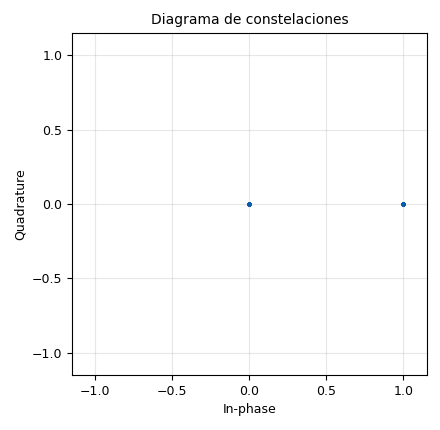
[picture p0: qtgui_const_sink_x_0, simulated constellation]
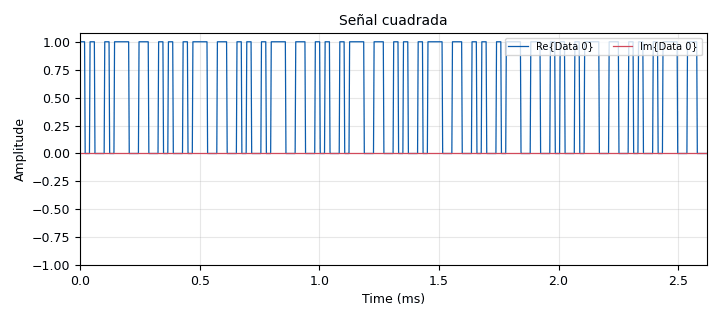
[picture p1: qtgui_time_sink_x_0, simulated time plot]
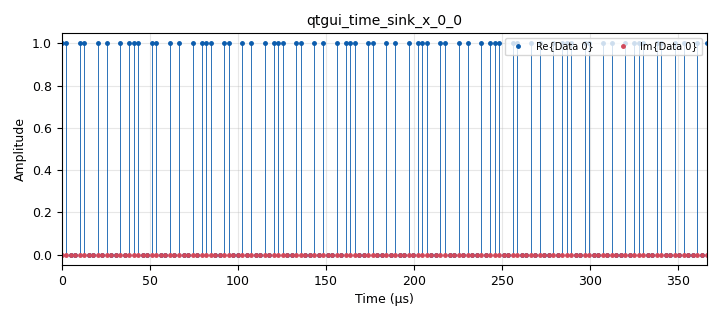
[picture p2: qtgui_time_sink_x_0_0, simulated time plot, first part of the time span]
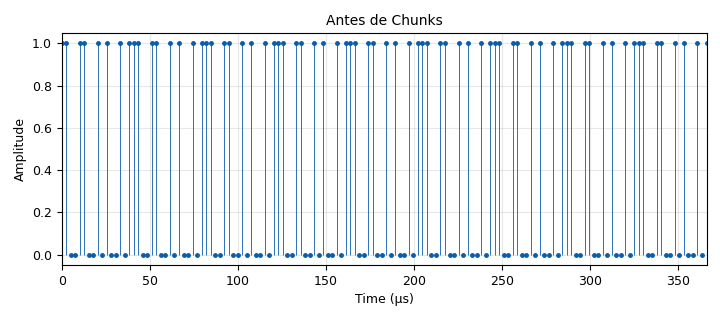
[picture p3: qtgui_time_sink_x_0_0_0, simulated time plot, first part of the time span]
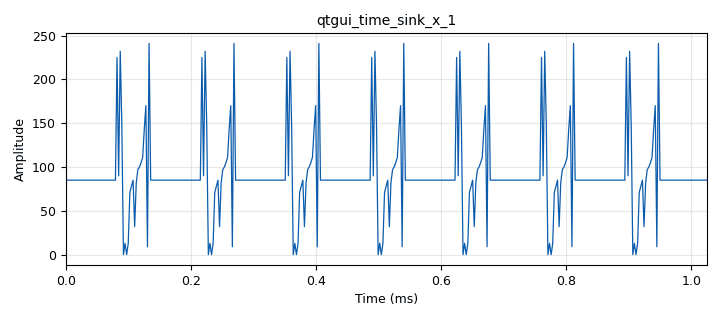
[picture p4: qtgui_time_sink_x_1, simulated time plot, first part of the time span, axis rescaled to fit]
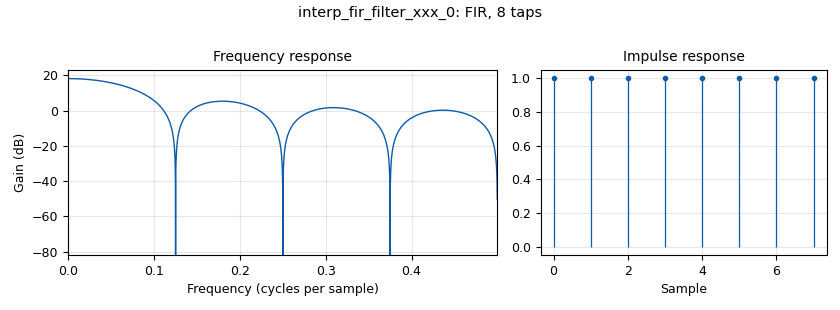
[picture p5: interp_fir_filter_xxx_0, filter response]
options:
  parameters:
    description: https://www.youtube.com/watch?v=2rsu-c26Tqo
    generate_options: qt_gui
    id: fus_USRP_4_with_Pkt_xmt
    output_language: python
    title: fus_USRP_4_with_Pkt_xmt
  states: {}

blocks:
- name: M
  id: variable
  parameters:
    value: len(module)
  states: {}
- name: Rb
  id: variable
  parameters:
    value: Rs*bps
  states: {}
- name: Rs
  id: variable
  parameters:
    value: '48828.125'
  states: {}
- name: Sps
  id: variable
  parameters:
    value: '8'
  states: {}
- name: Sps_0
  id: variable
  parameters:
    value: int(Sps/2)
  states: {}
- name: TrueBoardConstellation
  id: variable
  parameters:
    value: (0.77+0.77j,-0.77+0.77j,-0.77-0.77j,0.77-0.77j)
  states: {}
- name: bps
  id: variable
  parameters:
    value: int(math.log(M,2))
  states: {}
- name: constellation_2
  id: variable
  parameters:
    value: (0,1)
  states: {}
- name: h
  id: variable
  parameters:
    value: '[1]*Sps'
  states: {}
- name: module
  id: variable_qtgui_chooser
  parameters:
    gui_hint: 0,7,1,1
    label: modulación
    label0: TrueBoardConstellation
    label1: constellation_2
    num_opts: '2'
    option0: TrueBoardConstellation
    option1: constellation_2
    options: '[TrueBoardConstellation, constellation_2]'
    type: raw
    value: constellation_2
  states: {}
- name: samp_rate
  id: variable
  parameters:
    value: Rs*Sps
  states: {}
- name: samp_rate_2
  id: variable
  parameters:
    value: samp_rate*16
  states: {}
- name: Widget
  id: qtgui_tab_widget
  parameters:
    gui_hint: 0,0,1,7
    label0: Señal binaria
    label1: Señal cuadrada
    label2: Diagrama de constelaciones
    label3: Antes de Chunks
    num_tabs: '4'
  states: {}
- name: blocks_complex_to_mag_0
  id: blocks_complex_to_mag
  parameters: {}
  states: {state: disabled}
- name: blocks_file_sink_1
  id: blocks_file_sink
  parameters:
    file: G:\My Drive\ProgrammingProject\MaquinaNativa1\encrypted_data_rr.bin
    type: byte
  states: {state: disabled}
- name: blocks_file_source_0
  id: blocks_file_source
  parameters:
    file: G:\My Drive\ProgrammingProject\MaquinaNativa1\Frailejon.txt
    repeat: 'True'
    type: byte
  states: {state: disabled}
- name: blocks_float_to_uchar_0
  id: blocks_float_to_uchar
  parameters: {}
  states: {state: disabled}
- name: blocks_keep_one_in_n_0
  id: blocks_keep_one_in_n
  parameters:
    n: '8'
    type: complex
  states: {state: disabled}
- name: blocks_message_debug_0
  id: blocks_message_debug
  parameters: {}
  states: {}
- name: blocks_message_strobe_0
  id: blocks_message_strobe
  parameters:
    msg: pmt.cons(pmt.PMT_NIL,pmt.init_u8vector(9,(71,78,85,32,82,97,100,105,111)))
    period: '500'
  states: {}
- name: blocks_pack_k_bits_bb_0
  id: blocks_pack_k_bits_bb
  parameters:
    k: '8'
  states: {state: disabled}
- name: blocks_pack_k_bits_bb_0_0
  id: blocks_pack_k_bits_bb
  parameters:
    k: '8'
  states: {state: disabled}
- name: blocks_packed_to_unpacked_xx_0
  id: blocks_packed_to_unpacked_xx
  parameters:
    bits_per_chunk: bps
    endianness: gr.GR_MSB_FIRST
    type: byte
  states: {state: disabled}
- name: blocks_pdu_to_tagged_stream_0
  id: blocks_pdu_to_tagged_stream
  parameters:
    tag: packet_len
    type: byte
  states: {}
- name: blocks_uchar_to_float_0
  id: blocks_uchar_to_float
  parameters: {}
  states: {}
- name: blocks_uchar_to_float_1
  id: blocks_uchar_to_float
  parameters: {}
  states: {}
- name: blocks_unpack_k_bits_bb_0
  id: blocks_unpack_k_bits_bb
  parameters:
    k: '8'
  states: {state: disabled}
- name: blocks_vector_source_x_0
  id: blocks_vector_source_x
  parameters:
    repeat: 'True'
    tags: ''
    type: byte
    vector: (1,1,0,0,1,1,0,0,1,0,1,0,0,1,0,1)
  states: {}
- name: digital_chunks_to_symbols_xx_0
  id: digital_chunks_to_symbols_xx
  parameters:
    dimension: '1'
    in_type: byte
    out_type: complex
    symbol_table: module
  states: {}
- name: digital_crc32_async_bb_1
  id: digital_crc32_async_bb
  parameters:
    check: 'False'
  states: {}
- name: epy_block_0
  id: epy_block
  parameters:
    _source_code: |
      """
      Embedded Python Block
      """

      import numpy as np
      from gnuradio import gr
      import pmt

      class blk(gr.sync_block):
          """Packet Format"""

          def __init__(self):
              gr.sync_block.__init__(self,
                  name = "Packet Format",
                  in_sig = None,
                  out_sig = None)
              self.message_port_register_in(pmt.intern('PDU_in'))
              self.message_port_register_out(pmt.intern('PDU_out'))
              self.set_msg_handler(pmt.intern('PDU_in'), self.handle_msg)

          def handle_msg(self, msg):
              inMsg = pmt.to_python (msg)
              pld = inMsg[1]
              # print (pld)
              mLen = len(pld)
              # print (mLen)
              if (mLen > 0):
                  char_list = [85,85,85,85,85,85,85,85,85,85,85,85,85,85,85,85,85,85,85,85,85,85,85,85,85,85,85,85,85,85,85,85,225,90,232,147]
                  char_list.append (mLen >> 8)
                  char_list.append (mLen & 255)
                  char_list.append (mLen >> 8)
                  char_list.append (mLen & 255)
                  char_list.extend (pld)
                  # print (char_list)
                  out_len = len(char_list)
                  # print (out_len)
                  self.message_port_pub(pmt.intern('PDU_out'), pmt.cons(pmt.PMT_NIL,pmt.init_u8vector(out_len,(char_list))))
  states: {}
- name: import_0
  id: import
  parameters:
    imports: import math
  states: {}
- name: import_1
  id: import
  parameters:
    imports: import numpy
  states: {}
- name: interp_fir_filter_xxx_0
  id: interp_fir_filter_xxx
  parameters:
    interp: Sps
    taps: h
    type: ccf
  states: {}
- name: qtgui_const_sink_x_0
  id: qtgui_const_sink_x
  parameters:
    autoscale: 'True'
    grid: 'True'
    gui_hint: Widget@2
    name: '"Diagrama de constelaciones"'
    size: '2048'
    type: complex
  states: {}
- name: qtgui_freq_sink_x_0
  id: qtgui_freq_sink_x
  parameters:
    autoscale: 'True'
    bw: samp_rate_1
    ctrlpanel: 'True'
    fc: '0'
    fftsize: '1024'
    grid: 'True'
    gui_hint: 0,1,1,1
    type: float
  states: {state: disabled}
- name: qtgui_time_sink_x_0
  id: qtgui_time_sink_x
  parameters:
    ctrlpanel: 'True'
    gui_hint: Widget@1
    name: '"Señal cuadrada"'
    size: '1024'
    srate: samp_rate
    type: complex
  states: {}
- name: qtgui_time_sink_x_0_0
  id: qtgui_time_sink_x
  parameters:
    autoscale: 'True'
    ctrlpanel: 'True'
    grid: 'True'
    gui_hint: Widget@0
    size: '1024'
    srate: samp_rate
    stemplot: 'True'
    type: complex
    update_time: '0.1'
  states: {}
- name: qtgui_time_sink_x_0_0_0
  id: qtgui_time_sink_x
  parameters:
    autoscale: 'True'
    ctrlpanel: 'True'
    grid: 'True'
    gui_hint: Widget@3
    name: Antes de Chunks
    size: '1024'
    srate: samp_rate
    stemplot: 'True'
    type: float
    update_time: '0.1'
  states: {}
- name: qtgui_time_sink_x_1
  id: qtgui_time_sink_x
  parameters:
    ctrlpanel: 'True'
    size: '1024'
    srate: samp_rate
    type: float
  states: {}
- name: uhd_usrp_sink_0
  id: uhd_usrp_sink
  parameters:
    ant0: '"TX/RX"'
    center_freq0: 830e6
    gain0: '0'
    samp_rate: samp_rate
    sync: none
    type: fc32
  states: {}

connections:
- [blocks_complex_to_mag_0, '0', blocks_float_to_uchar_0, '0']
- [blocks_file_source_0, '0', blocks_pack_k_bits_bb_0, '0']
- [blocks_file_source_0, '0', blocks_unpack_k_bits_bb_0, '0']
- [blocks_float_to_uchar_0, '0', blocks_pack_k_bits_bb_0_0, '0']
- [blocks_keep_one_in_n_0, '0', blocks_complex_to_mag_0, '0']
- [blocks_message_strobe_0, strobe, digital_crc32_async_bb_1, in]
- [blocks_pack_k_bits_bb_0, '0', blocks_packed_to_unpacked_xx_0, '0']
- [blocks_pack_k_bits_bb_0_0, '0', blocks_file_sink_1, '0']
- [blocks_packed_to_unpacked_xx_0, '0', blocks_uchar_to_float_0, '0']
- [blocks_packed_to_unpacked_xx_0, '0', digital_chunks_to_symbols_xx_0, '0']
- [blocks_pdu_to_tagged_stream_0, '0', blocks_uchar_to_float_1, '0']
- [blocks_uchar_to_float_0, '0', qtgui_time_sink_x_0_0_0, '0']
- [blocks_uchar_to_float_1, '0', qtgui_time_sink_x_1, '0']
- [blocks_unpack_k_bits_bb_0, '0', blocks_uchar_to_float_0, '0']
- [blocks_unpack_k_bits_bb_0, '0', digital_chunks_to_symbols_xx_0, '0']
- [blocks_vector_source_x_0, '0', blocks_uchar_to_float_0, '0']
- [blocks_vector_source_x_0, '0', digital_chunks_to_symbols_xx_0, '0']
- [digital_chunks_to_symbols_xx_0, '0', interp_fir_filter_xxx_0, '0']
- [digital_chunks_to_symbols_xx_0, '0', qtgui_time_sink_x_0_0, '0']
- [digital_crc32_async_bb_1, out, epy_block_0, PDU_in]
- [epy_block_0, PDU_out, blocks_message_debug_0, print]
- [epy_block_0, PDU_out, blocks_pdu_to_tagged_stream_0, pdus]
- [interp_fir_filter_xxx_0, '0', blocks_keep_one_in_n_0, '0']
- [interp_fir_filter_xxx_0, '0', qtgui_const_sink_x_0, '0']
- [interp_fir_filter_xxx_0, '0', qtgui_time_sink_x_0, '0']
- [interp_fir_filter_xxx_0, '0', uhd_usrp_sink_0, '0']

metadata:
  file_format: 1
